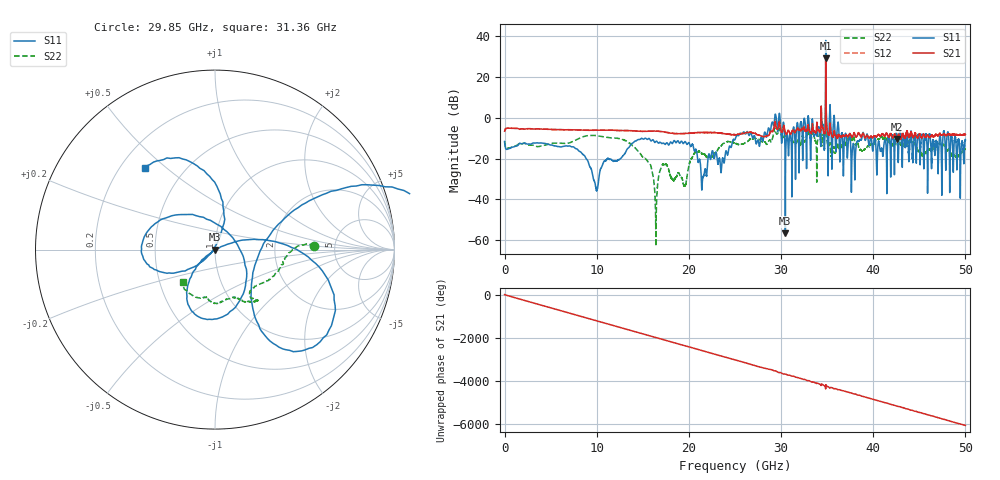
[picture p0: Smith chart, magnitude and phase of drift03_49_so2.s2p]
!Created with skrf (http://scikit-rf.org).
# Hz S RI R 50.0
!freq ReS11 ImS11 ReS21 ImS21 ReS12 ImS12 ReS22 ImS22
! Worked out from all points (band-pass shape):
!   10001 points, 300 kHz to 50 GHz, reference 50 ohm
!   highest |S21| = 29.14 dB at 34.85 GHz (marker M1); lowest = -10.3 dB at 42.55 GHz (marker M2)
!   |S21| within 3 dB of the highest: 34.84359 GHz to 34.84593 GHz (2.34 MHz wide, 0.00672 % of centre)
!   lowest |S11| = -56.5 dB at 30.47 GHz (marker M3), VSWR 1.00, Z = 49.9 - j0.106 ohm
!   |S11| at or under -10 dB: start of sweep to 15.23 GHz; 15.31 GHz to 25.05 GHz (9.738 GHz wide, 48.3 % of centre); 40.22 GHz to 41.62 GHz (1.4 GHz wide, 3.42 % of centre) (the widest 3 of 49)
!   |S22| runs from -62.9 to 20.2 dB; largest |S21 - S12| = 4.2
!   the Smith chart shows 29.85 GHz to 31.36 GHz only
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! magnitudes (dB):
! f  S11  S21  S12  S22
! 300 kHz  -11.6  -6.5  -6.5  -11.4
! 8.335 GHz  -17.1  -6.0  -6.0  -9.6
! 9.955 GHz  -35.6  -6.1  -6.1  -8.7
! 11 GHz  -20.9  -6.1  -6.1  -9.5
! 13.96 GHz  -12.2  -6.4  -6.3  -13.9
! 16.36 GHz  -11.9  -6.5  -6.5  -42.6
! 16.67 GHz  -12.4  -6.6  -6.5  -29.8
! 17.34 GHz  -12.8  -6.9  -6.9  -23.0
! 19.55 GHz  -11.7  -7.7  -7.7  -33.2
! 20.22 GHz  -13.9  -7.5  -7.5  -20.3
! 21.55 GHz  -28.7  -7.2  -7.2  -17.7
! 25 GHz  -10.6  -8.2  -8.2  -12.5
! 29.6 GHz  -5.6  -5.7  -5.9  -7.8
! 30.47 GHz  -56.5  -7.2  -7.2  -9.0
! 33.34 GHz  -3.8  -6.8  -6.7  -9.3
! 34.85 GHz  38.0  29.1  29.0  20.2
! 35.63 GHz  -6.6  -9.3  -9.2  -16.2
! 37.83 GHz  -12.7  -8.2  -8.3  -9.8
! 38.81 GHz  -8.9  -8.2  -8.2  -16.2
! 41.67 GHz  -9.4  -9.4  -9.4  -11.5
! 42.55 GHz  -8.6  -10.3  -10.4  -13.2
! 50 GHz  -10.8  -8.2  -8.2  -15.5
